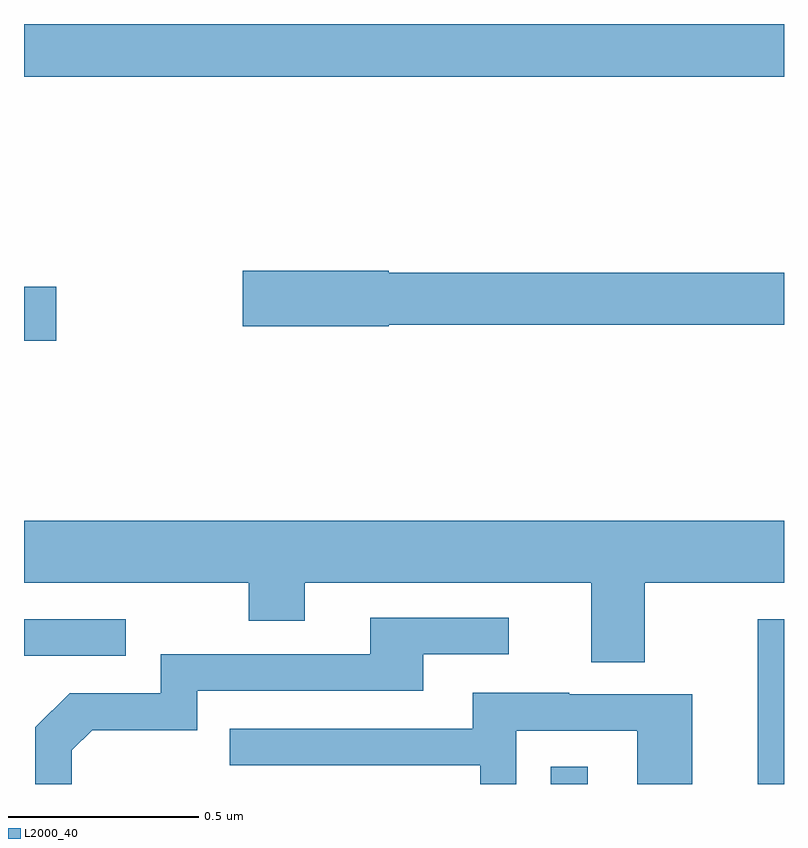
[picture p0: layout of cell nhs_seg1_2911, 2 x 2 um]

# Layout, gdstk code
import gdstk
lib = gdstk.Library(unit=1e-6, precision=1e-09)
def R(c, l, rs):  # rectangles x0, y0, x1, y1
    for r in rs: c.add(gdstk.rectangle(r[:2], r[2:], *l))
def P(c, l, *ps):  # polygons
    for p in ps: c.add(gdstk.Polygon(p, *l))
L2000_40 = (2000, 40)

nhs_seg1_2911 = lib.new_cell('nhs_seg1_2911')
R(nhs_seg1_2911, L2000_40, [(148.386,555.199,148.483,555.244), (148.931,555.199,149,555.633), (147,555.537,147.268,555.633), (147,556.366,147.085,556.508), (147,557.06,149,557.199)])
P(nhs_seg1_2911, L2000_40, [(147.96,556.408),(149,556.408),(149,556.544),(147.96,556.544),(147.96,556.55),(147.576,556.55),(147.576,556.403),(147.96,556.403)],
  [(148.633,555.728),(149,555.728),(149,555.892),(147,555.892),(147,555.728),(147.592,555.728),(147.592,555.629),(147.739,555.629),(147.739,555.728),(148.493,555.728),(148.493,555.52),(148.633,555.52)],
  [(147.126,555.288),(147.179,555.341),(147.456,555.341),(147.456,555.444),(148.051,555.444),(148.051,555.54),(148.276,555.54),(148.276,555.636),(147.911,555.636),(147.911,555.54),(147.36,555.54),(147.36,555.438),(147.12,555.438),(147.03,555.348),(147.03,555.199),(147.126,555.199)],
  [(148.296,555.339),(148.614,555.339),(148.614,555.199),(148.759,555.199),(148.759,555.435),(148.435,555.435),(148.435,555.439),(148.181,555.439),(148.181,555.345),(147.541,555.345),(147.541,555.249),(148.2,555.249),(148.2,555.199),(148.296,555.199)])

lib.write_gds('nhs_seg1_2911.gds')
